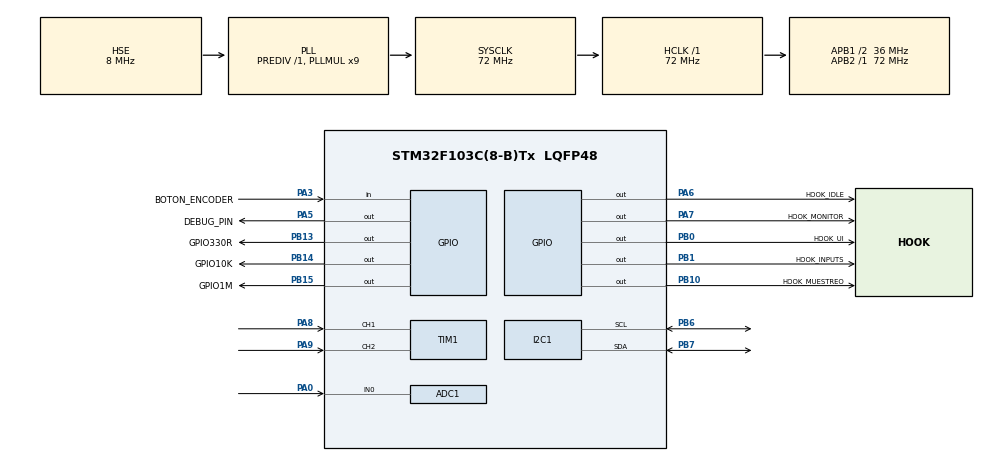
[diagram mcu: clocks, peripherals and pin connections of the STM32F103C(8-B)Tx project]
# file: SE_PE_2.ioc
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ADC1.Channel-0\#ChannelRegularConversion=ADC_CHANNEL_0
ADC1.ContinuousConvMode=DISABLE
ADC1.ExternalTrigConv=ADC_EXTERNALTRIGCONV_T3_TRGO
ADC1.NbrOfConversion=1
ADC1.NbrOfConversionFlag=1
ADC1.Rank-0\#ChannelRegularConversion=1
ADC1.SamplingTime-0\#ChannelRegularConversion=ADC_SAMPLETIME_239CYCLES_5
ADC1.master=1
Dma.ADC1.0.Direction=DMA_PERIPH_TO_MEMORY
Dma.ADC1.0.Instance=DMA1_Channel1
Dma.ADC1.0.MemDataAlignment=DMA_MDATAALIGN_HALFWORD
Dma.ADC1.0.MemInc=DMA_MINC_ENABLE
Dma.ADC1.0.Mode=DMA_NORMAL
Dma.ADC1.0.PeriphDataAlignment=DMA_PDATAALIGN_HALFWORD
Dma.ADC1.0.PeriphInc=DMA_PINC_DISABLE
Dma.ADC1.0.Priority=DMA_PRIORITY_HIGH
Dma.Request0=ADC1
FREERTOS.Queues01=uiQueue,10,4,1,Static,uiQueueBuffer,uiQueueControlBlock;monitorQueue,1,MonitorData_t,0,Static,monitorQueueBuffer,monitorQueueControlBlock;muestreoQueue,4,MuestreoQueue_t,0,Static,samplesQueueBuffer,samplesQueueControlBlock
FREERTOS.Tasks01=defaultTask,8,256,StartDefaultTask,Default,NULL,Dynamic,NULL,NULL;uiTask,25,384,oledEntry,Default,NULL,Dynamic,NULL,NULL;inputsTask,27,128,encoderEntry,Default,NULL,Dynamic,NULL,NULL;monitorTask,26,128,monitorEntry,Default,NULL,Dynamic,NULL,NULL
FREERTOS.configGENERATE_RUN_TIME_STATS=1
FREERTOS.configTOTAL_HEAP_SIZE=7000
FREERTOS.configUSE_APPLICATION_TASK_TAG=1
FREERTOS.configUSE_STATS_FORMATTING_FUNCTIONS=1
I2C1.I2C_Mode=I2C_Fast
Mcu.Family=STM32F1
Mcu.Name=STM32F103C(8-B)Tx
Mcu.Package=LQFP48
NVIC.DMA1_Channel1_IRQn=true\:5\:0\:false\:false\:true\:true\:false\:true\:true
NVIC.PriorityGroup=NVIC_PRIORITYGROUP_4
NVIC.TIM4_IRQn=true\:15\:0\:false\:false\:true\:false\:false\:true\:true
NVIC.TimeBase=TIM4_IRQn
NVIC.TimeBaseIP=TIM4
PA0-WKUP.Signal=ADCx_IN0
PA13.Mode=Serial_Wire
PA13.Signal=SYS_JTMS-SWDIO
PA14.Mode=Serial_Wire
PA14.Signal=SYS_JTCK-SWCLK
PA3.GPIO_Label=BOTON_ENCODER
PA3.GPIO_PuPd=GPIO_PULLUP
PA3.Signal=GPIO_Input
PA5.GPIO_Label=DEBUG_PIN
PA5.Signal=GPIO_Output
PA6.GPIO_Label=HOOK_IDLE
PA6.Signal=GPIO_Output
PA7.GPIO_Label=HOOK_MONITOR
PA7.Signal=GPIO_Output
PA8.GPIO_PuPd=GPIO_PULLUP
PA8.Signal=S_TIM1_CH1
PA9.GPIO_PuPd=GPIO_PULLUP
PA9.Signal=S_TIM1_CH2
PB0.GPIO_Label=HOOK_UI
PB0.Signal=GPIO_Output
PB1.GPIO_Label=HOOK_INPUTS
PB1.Signal=GPIO_Output
PB10.GPIO_Label=HOOK_MUESTREO
PB10.Signal=GPIO_Output
PB13.GPIO_Label=GPIO330R
PB13.Signal=GPIO_Output
PB14.GPIO_Label=GPIO10K
PB14.Signal=GPIO_Output
PB15.GPIO_Label=GPIO1M
PB15.Signal=GPIO_Output
PB6.Mode=I2C
PB6.Signal=I2C1_SCL
PB7.Mode=I2C
PB7.Signal=I2C1_SDA
PD0-OSC_IN.Mode=HSE-External-Oscillator
PD0-OSC_IN.Signal=RCC_OSC_IN
PD1-OSC_OUT.Mode=HSE-External-Oscillator
PD1-OSC_OUT.Signal=RCC_OSC_OUT
ProjectManager.HeapSize=0x200
ProjectManager.StackSize=0x400
ProjectManager.TargetToolchain=STM32CubeIDE
RCC.ADCPresc=RCC_ADCPCLK2_DIV6
RCC.AHBFreq_Value=72000000
RCC.APB1CLKDivider=RCC_HCLK_DIV2
RCC.APB1Freq_Value=36000000
RCC.APB1TimFreq_Value=72000000
RCC.APB2Freq_Value=72000000
RCC.APB2TimFreq_Value=72000000
RCC.HCLKFreq_Value=72000000
RCC.PLLMUL=RCC_PLL_MUL9
RCC.PLLSourceVirtual=RCC_PLLSOURCE_HSE
RCC.SYSCLKFreq_VALUE=72000000
RCC.SYSCLKSource=RCC_SYSCLKSOURCE_PLLCLK
RCC.USBFreq_Value=72000000
SH.ADCx_IN0.0=ADC1_IN0,IN0
SH.S_TIM1_CH1.0=TIM1_CH1,Encoder_Interface
SH.S_TIM1_CH2.0=TIM1_CH2,Encoder_Interface
TIM1.EncoderMode=TIM_ENCODERMODE_TI12
TIM3.Period=1000-1
TIM3.Prescaler=72-1
TIM3.TIM_MasterOutputTrigger=TIM_TRGO_UPDATE
VP_FREERTOS_VS_CMSIS_V2.Mode=CMSIS_V2
VP_SYS_VS_tim4.Mode=TIM4
VP_TIM3_VS_ClockSourceINT.Mode=Internal
board=custom

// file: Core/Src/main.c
/* USER CODE BEGIN Header */

/**
  ******************************************************************************
  * @file           : main.c
  * @brief          : Main program body
  ******************************************************************************
  * @attention
  *
  * Copyright (c) 2026 STMicroelectronics.
  * All rights reserved.
  *
  * This software is licensed under terms that can be found in the LICENSE file
  * in the root directory of this software component.
  * If no LICENSE file comes with this software, it is provided AS-IS.
  *
  ******************************************************************************
  */
/* USER CODE END Header */
#include "main.h"
#include "cmsis_os.h"

/* USER CODE BEGIN Includes */
#include <stdio.h>
#include <stdint.h>
#include "ui.h"
#include "monitor.h"
#include "ssd1306.h"

#include "medida.h"

/* USER CODE END Includes */

typedef StaticQueue_t osStaticMessageQDef_t;

/* USER CODE BEGIN PD */

// -----------------------------------------------------
// TODO: factorizar esto a donde corresponde
// Valores de ARR para el TIM3 según la escala de tiempo requerida
#define TIM3_ARR_RAPIDO   (100 - 1)    // Muestreo muy rápido (~100 microsegundos por muestra)
#define TIM3_ARR_MEDIO    (1000 - 1)  // Muestreo medio (~1 milisegundo por muestra)
#define TIM3_ARR_LENTO    (10000 - 1) // Muestreo lento (~10 milisegundos por muestra)

typedef enum {
    RANGE_330R = 0,
    RANGE_10K,
    RANGE_1M
} RangeState_t;

typedef enum {
    TIME_BASE_RAPIDA = 0,
    TIME_BASE_MEDIA,
    TIME_BASE_LENTA
} TimeBase_t;

// Prototipos de funciones auxiliares
void set_hardware_range(RangeState_t range);
uint32_t calcular_capacidad_final(int16_t indice_tau, TimeBase_t base_tiempo, RangeState_t rango_R);
// TODO -----------------------------------------------------

/* USER CODE END PD */

ADC_HandleTypeDef hadc1;
DMA_HandleTypeDef hdma_adc1;

I2C_HandleTypeDef hi2c1;

TIM_HandleTypeDef htim1;
TIM_HandleTypeDef htim3;

/* Definitions for defaultTask */
osThreadId_t defaultTaskHandle;
const osThreadAttr_t defaultTask_attributes = {
  .name = "defaultTask",
  .stack_size = 256 * 4,
  .priority = (osPriority_t) osPriorityLow,
};
/* Definitions for uiTask */
osThreadId_t uiTaskHandle;
const osThreadAttr_t uiTask_attributes = {
  .name = "uiTask",
  .stack_size = 384 * 4,
  .priority = (osPriority_t) osPriorityNormal1,
};
/* Definitions for inputsTask */
osThreadId_t inputsTaskHandle;
const osThreadAttr_t inputsTask_attributes = {
  .name = "inputsTask",
  .stack_size = 128 * 4,
  .priority = (osPriority_t) osPriorityNormal3,
};
/* Definitions for monitorTask */
osThreadId_t monitorTaskHandle;
const osThreadAttr_t monitorTask_attributes = {
  .name = "monitorTask",
  .stack_size = 128 * 4,
  .priority = (osPriority_t) osPriorityNormal2,
};
/* Definitions for uiQueue */
osMessageQueueId_t uiQueueHandle;
uint8_t uiQueueBuffer[ 10 * 4 ];
osStaticMessageQDef_t uiQueueControlBlock;
const osMessageQueueAttr_t uiQueue_attributes = {
  .name = "uiQueue",
  .cb_mem = &uiQueueControlBlock,
  .cb_size = sizeof(uiQueueControlBlock),
  .mq_mem = &uiQueueBuffer,
  .mq_size = sizeof(uiQueueBuffer)
};
/* Definitions for monitorQueue */
osMessageQueueId_t monitorQueueHandle;
uint8_t monitorQueueBuffer[ 1 * sizeof( MonitorData_t ) ];
osStaticMessageQDef_t monitorQueueControlBlock;
const osMessageQueueAttr_t monitorQueue_attributes = {
  .name = "monitorQueue",
  .cb_mem = &monitorQueueControlBlock,
  .cb_size = sizeof(monitorQueueControlBlock),
  .mq_mem = &monitorQueueBuffer,
  .mq_size = sizeof(monitorQueueBuffer)
};
/* Definitions for muestreoQueue */
osMessageQueueId_t muestreoQueueHandle;
uint8_t samplesQueueBuffer[ 4 * sizeof( MuestreoQueue_t ) ];
osStaticMessageQDef_t samplesQueueControlBlock;
const osMessageQueueAttr_t muestreoQueue_attributes = {
  .name = "muestreoQueue",
  .cb_mem = &samplesQueueControlBlock,
  .cb_size = sizeof(samplesQueueControlBlock),
  .mq_mem = &samplesQueueBuffer,
  .mq_size = sizeof(samplesQueueBuffer)
};
/* USER CODE BEGIN PV */

/* Globables para monitor */
volatile uint32_t FU_acc = 0;
volatile uint32_t FU_time_delta = 0;

/* Globales para UI */
UI_t ui1 = {
	ESTADO_INICIO,
	0, // Seleccion inicial
	1, // Flag update background
	1, // Flag update seleccion
	0, // Flag update datos
};

Config_t config1 = { // Configuracion default
	.modo = MODO_MULTIPLE,
	.parametro = PARAMETRO_R,
};

/* USER CODE END PV */

void SystemClock_Config(void);
static void MX_GPIO_Init(void);
static void MX_DMA_Init(void);
static void MX_I2C1_Init(void);
static void MX_TIM1_Init(void);
static void MX_ADC1_Init(void);
static void MX_TIM3_Init(void);
void StartDefaultTask(void *argument);
void oledEntry(void *argument);
void encoderEntry(void *argument);
void monitorEntry(void *argument);

/* USER CODE BEGIN PFP */
void UI_FSM_Switch(UI_t *ui, Evento_e evento);
void callback_in(int tag);
void callback_out(int tag);

void configurar_descarga();
void configurar_carga();

/**
 * Ajustan los GPIOs para el fondo de escala más adecuado
 * de para medir resistencias
 */
//MuestreoQueue_t configureAutoRangeResistor();

/* USER CODE END PFP */

/* USER CODE BEGIN 0 */

uint16_t adc_buffer[ADC_BUFFER_SIZE] = {0};
volatile Bool buffer_ready = FALSE;

/* USER CODE END 0 */

int main(void)
{

  /* MCU Configuration--------------------------------------------------------*/

  /* Reset of all peripherals, Initializes the Flash interface and the Systick. */
  HAL_Init();

  /* Configure the system clock */
  SystemClock_Config();

  /* Initialize all configured peripherals */
  MX_GPIO_Init();
  MX_DMA_Init();
  MX_I2C1_Init();
  MX_TIM1_Init();
  MX_ADC1_Init();
  MX_TIM3_Init();
  /* USER CODE BEGIN 2 */

  // Se comienza el Timer 3 que da la base de tiempo
  // para la conversión del ADC 1
  HAL_TIM_Base_Start(&htim3);

  /* USER CODE END 2 */

  /* Init scheduler */
  osKernelInitialize();

  /* Create the queue(s) */
  /* creation of uiQueue */
  uiQueueHandle = osMessageQueueNew (10, 4, &uiQueue_attributes);

  /* creation of monitorQueue */
  monitorQueueHandle = osMessageQueueNew (1, sizeof(MonitorData_t), &monitorQueue_attributes);

  /* creation of muestreoQueue */
  muestreoQueueHandle = osMessageQueueNew (4, sizeof(MuestreoQueue_t), &muestreoQueue_attributes);

  /* Create the thread(s) */
  /* creation of defaultTask */
  defaultTaskHandle = osThreadNew(StartDefaultTask, NULL, &defaultTask_attributes);

  /* creation of uiTask */
  uiTaskHandle = osThreadNew(oledEntry, NULL, &uiTask_attributes);

  /* creation of inputsTask */
  inputsTaskHandle = osThreadNew(encoderEntry, NULL, &inputsTask_attributes);

  /* creation of monitorTask */
  monitorTaskHandle = osThreadNew(monitorEntry, NULL, &monitorTask_attributes);

  /* Start scheduler */
  osKernelStart();

  /* We should never get here as control is now taken by the scheduler */

  /* Infinite loop */
  while (1)
  {

  }
}

void SystemClock_Config(void)
{
  RCC_OscInitTypeDef RCC_OscInitStruct = {0};
  RCC_ClkInitTypeDef RCC_ClkInitStruct = {0};
  RCC_PeriphCLKInitTypeDef PeriphClkInit = {0};

  /** Initializes the RCC Oscillators according to the specified parameters
  * in the RCC_OscInitTypeDef structure.
  */
  RCC_OscInitStruct.OscillatorType = RCC_OSCILLATORTYPE_HSE;
  RCC_OscInitStruct.HSEState = RCC_HSE_ON;
  RCC_OscInitStruct.HSEPredivValue = RCC_HSE_PREDIV_DIV1;
  RCC_OscInitStruct.HSIState = RCC_HSI_ON;
  RCC_OscInitStruct.PLL.PLLState = RCC_PLL_ON;
  RCC_OscInitStruct.PLL.PLLSource = RCC_PLLSOURCE_HSE;
  RCC_OscInitStruct.PLL.PLLMUL = RCC_PLL_MUL9;
  if (HAL_RCC_OscConfig(&RCC_OscInitStruct) != HAL_OK)
  {
    Error_Handler();
  }

  /** Initializes the CPU, AHB and APB buses clocks
  */
  RCC_ClkInitStruct.ClockType = RCC_CLOCKTYPE_HCLK|RCC_CLOCKTYPE_SYSCLK
                              |RCC_CLOCKTYPE_PCLK1|RCC_CLOCKTYPE_PCLK2;
  RCC_ClkInitStruct.SYSCLKSource = RCC_SYSCLKSOURCE_PLLCLK;
  RCC_ClkInitStruct.AHBCLKDivider = RCC_SYSCLK_DIV1;
  RCC_ClkInitStruct.APB1CLKDivider = RCC_HCLK_DIV2;
  RCC_ClkInitStruct.APB2CLKDivider = RCC_HCLK_DIV1;

  if (HAL_RCC_ClockConfig(&RCC_ClkInitStruct, FLASH_LATENCY_2) != HAL_OK)
  {
    Error_Handler();
  }
  PeriphClkInit.PeriphClockSelection = RCC_PERIPHCLK_ADC;
  PeriphClkInit.AdcClockSelection = RCC_ADCPCLK2_DIV6;
  if (HAL_RCCEx_PeriphCLKConfig(&PeriphClkInit) != HAL_OK)
  {
    Error_Handler();
  }
}

static void MX_ADC1_Init(void)
{

  ADC_ChannelConfTypeDef sConfig = {0};

  /** Common config
  */
  hadc1.Instance = ADC1;
  hadc1.Init.ScanConvMode = ADC_SCAN_DISABLE;
  hadc1.Init.ContinuousConvMode = DISABLE;
  hadc1.Init.DiscontinuousConvMode = DISABLE;
  hadc1.Init.ExternalTrigConv = ADC_EXTERNALTRIGCONV_T3_TRGO;
  hadc1.Init.DataAlign = ADC_DATAALIGN_RIGHT;
  hadc1.Init.NbrOfConversion = 1;
  if (HAL_ADC_Init(&hadc1) != HAL_OK)
  {
    Error_Handler();
  }

  /** Configure Regular Channel
  */
  sConfig.Channel = ADC_CHANNEL_0;
  sConfig.Rank = ADC_REGULAR_RANK_1;
  sConfig.SamplingTime = ADC_SAMPLETIME_239CYCLES_5;
  if (HAL_ADC_ConfigChannel(&hadc1, &sConfig) != HAL_OK)
  {
    Error_Handler();
  }

}

static void MX_I2C1_Init(void)
{

  hi2c1.Instance = I2C1;
  hi2c1.Init.ClockSpeed = 400000;
  hi2c1.Init.DutyCycle = I2C_DUTYCYCLE_2;
  hi2c1.Init.OwnAddress1 = 0;
  hi2c1.Init.AddressingMode = I2C_ADDRESSINGMODE_7BIT;
  hi2c1.Init.DualAddressMode = I2C_DUALADDRESS_DISABLE;
  hi2c1.Init.OwnAddress2 = 0;
  hi2c1.Init.GeneralCallMode = I2C_GENERALCALL_DISABLE;
  hi2c1.Init.NoStretchMode = I2C_NOSTRETCH_DISABLE;
  if (HAL_I2C_Init(&hi2c1) != HAL_OK)
  {
    Error_Handler();
  }

}

static void MX_TIM1_Init(void)
{

  TIM_Encoder_InitTypeDef sConfig = {0};
  TIM_MasterConfigTypeDef sMasterConfig = {0};

  htim1.Instance = TIM1;
  htim1.Init.Prescaler = 0;
  htim1.Init.CounterMode = TIM_COUNTERMODE_UP;
  htim1.Init.Period = 65535;
  htim1.Init.ClockDivision = TIM_CLOCKDIVISION_DIV1;
  htim1.Init.RepetitionCounter = 0;
  htim1.Init.AutoReloadPreload = TIM_AUTORELOAD_PRELOAD_DISABLE;
  sConfig.EncoderMode = TIM_ENCODERMODE_TI12;
  sConfig.IC1Polarity = TIM_ICPOLARITY_RISING;
  sConfig.IC1Selection = TIM_ICSELECTION_DIRECTTI;
  sConfig.IC1Prescaler = TIM_ICPSC_DIV1;
  sConfig.IC1Filter = 0;
  sConfig.IC2Polarity = TIM_ICPOLARITY_RISING;
  sConfig.IC2Selection = TIM_ICSELECTION_DIRECTTI;
  sConfig.IC2Prescaler = TIM_ICPSC_DIV1;
  sConfig.IC2Filter = 0;
  if (HAL_TIM_Encoder_Init(&htim1, &sConfig) != HAL_OK)
  {
    Error_Handler();
  }
  sMasterConfig.MasterOutputTrigger = TIM_TRGO_RESET;
  sMasterConfig.MasterSlaveMode = TIM_MASTERSLAVEMODE_DISABLE;
  if (HAL_TIMEx_MasterConfigSynchronization(&htim1, &sMasterConfig) != HAL_OK)
  {
    Error_Handler();
  }

}

static void MX_TIM3_Init(void)
{

  TIM_ClockConfigTypeDef sClockSourceConfig = {0};
  TIM_MasterConfigTypeDef sMasterConfig = {0};

  htim3.Instance = TIM3;
  htim3.Init.Prescaler = 72-1;
  htim3.Init.CounterMode = TIM_COUNTERMODE_UP;
  htim3.Init.Period = 1000-1;
  htim3.Init.ClockDivision = TIM_CLOCKDIVISION_DIV1;
  htim3.Init.AutoReloadPreload = TIM_AUTORELOAD_PRELOAD_DISABLE;
  if (HAL_TIM_Base_Init(&htim3) != HAL_OK)
  {
    Error_Handler();
  }
  sClockSourceConfig.ClockSource = TIM_CLOCKSOURCE_INTERNAL;
  if (HAL_TIM_ConfigClockSource(&htim3, &sClockSourceConfig) != HAL_OK)
  {
    Error_Handler();
  }
  sMasterConfig.MasterOutputTrigger = TIM_TRGO_UPDATE;
  sMasterConfig.MasterSlaveMode = TIM_MASTERSLAVEMODE_DISABLE;
  if (HAL_TIMEx_MasterConfigSynchronization(&htim3, &sMasterConfig) != HAL_OK)
  {
    Error_Handler();
  }

}

static void MX_DMA_Init(void)
{

  /* DMA controller clock enable */
  __HAL_RCC_DMA1_CLK_ENABLE();

  /* DMA interrupt init */
  /* DMA1_Channel1_IRQn interrupt configuration */
  HAL_NVIC_SetPriority(DMA1_Channel1_IRQn, 5, 0);
  HAL_NVIC_EnableIRQ(DMA1_Channel1_IRQn);

}

static void MX_GPIO_Init(void)
{
  GPIO_InitTypeDef GPIO_InitStruct = {0};

  /* GPIO Ports Clock Enable */
  __HAL_RCC_GPIOD_CLK_ENABLE();
  __HAL_RCC_GPIOA_CLK_ENABLE();
  __HAL_RCC_GPIOB_CLK_ENABLE();

  /*Configure GPIO pin Output Level */
  HAL_GPIO_WritePin(GPIOA, DEBUG_PIN_Pin|HOOK_IDLE_Pin|HOOK_MONITOR_Pin, GPIO_PIN_RESET);

  /*Configure GPIO pin Output Level */
  HAL_GPIO_WritePin(GPIOB, HOOK_UI_Pin|HOOK_INPUTS_Pin|HOOK_MUESTREO_Pin|GPIO330R_Pin
                          |GPIO10K_Pin|GPIO1M_Pin, GPIO_PIN_RESET);

  /*Configure GPIO pin : BOTON_ENCODER_Pin */
  GPIO_InitStruct.Pin = BOTON_ENCODER_Pin;
  GPIO_InitStruct.Mode = GPIO_MODE_INPUT;
  GPIO_InitStruct.Pull = GPIO_PULLUP;
  HAL_GPIO_Init(BOTON_ENCODER_GPIO_Port, &GPIO_InitStruct);

  /*Configure GPIO pins : DEBUG_PIN_Pin HOOK_IDLE_Pin HOOK_MONITOR_Pin */
  GPIO_InitStruct.Pin = DEBUG_PIN_Pin|HOOK_IDLE_Pin|HOOK_MONITOR_Pin;
  GPIO_InitStruct.Mode = GPIO_MODE_OUTPUT_PP;
  GPIO_InitStruct.Pull = GPIO_NOPULL;
  GPIO_InitStruct.Speed = GPIO_SPEED_FREQ_LOW;
  HAL_GPIO_Init(GPIOA, &GPIO_InitStruct);

  /*Configure GPIO pins : HOOK_UI_Pin HOOK_INPUTS_Pin HOOK_MUESTREO_Pin GPIO330R_Pin
                           GPIO10K_Pin GPIO1M_Pin */
  GPIO_InitStruct.Pin = HOOK_UI_Pin|HOOK_INPUTS_Pin|HOOK_MUESTREO_Pin|GPIO330R_Pin
                          |GPIO10K_Pin|GPIO1M_Pin;
  GPIO_InitStruct.Mode = GPIO_MODE_OUTPUT_PP;
  GPIO_InitStruct.Pull = GPIO_NOPULL;
  GPIO_InitStruct.Speed = GPIO_SPEED_FREQ_LOW;
  HAL_GPIO_Init(GPIOB, &GPIO_InitStruct);

}

/* USER CODE BEGIN 4 */

/**
 * @brief Configura los GPIOs para activar la resistencia de carga/descarga correcta.
 */
void set_hardware_range(RangeState_t range) {
    GPIO_InitTypeDef GPIO_InitStruct = {0};

    // Todos se configuran como Entrada (Alta impedancia / Flotante / Z) por defecto
    GPIO_InitStruct.Mode = GPIO_MODE_INPUT; // También puedes usar GPIO_MODE_ANALOG para menor ruido
    GPIO_InitStruct.Pull = GPIO_NOPULL;
    GPIO_InitStruct.Speed = GPIO_SPEED_FREQ_LOW;

    switch (range){

    case RANGE_330R:
        // 1. Ponemos en Z las resistencias de 10K y 1M
        GPIO_InitStruct.Pin = GPIO10K_Pin;
        HAL_GPIO_Init(GPIO10K_GPIO_Port, &GPIO_InitStruct);

        GPIO_InitStruct.Pin = GPIO1M_Pin;
        HAL_GPIO_Init(GPIO1M_GPIO_Port, &GPIO_InitStruct);

        // 2. Activamos la de 330R como salida en ALTO
        GPIO_InitStruct.Pin = GPIO330R_Pin;
        GPIO_InitStruct.Mode = GPIO_MODE_OUTPUT_PP;
        HAL_GPIO_Init(GPIO330R_GPIO_Port, &GPIO_InitStruct);
        HAL_GPIO_WritePin(GPIO330R_GPIO_Port, GPIO330R_Pin, GPIO_PIN_SET);
        break;

    case RANGE_10K:
        // 1. Ponemos en Z las resistencias de 330R y 1M
        GPIO_InitStruct.Pin = GPIO330R_Pin;
        HAL_GPIO_Init(GPIO330R_GPIO_Port, &GPIO_InitStruct);

        GPIO_InitStruct.Pin = GPIO1M_Pin;
        HAL_GPIO_Init(GPIO1M_GPIO_Port, &GPIO_InitStruct);

        // 2. Activamos la de 10K como salida en ALTO
        GPIO_InitStruct.Pin = GPIO10K_Pin;
        GPIO_InitStruct.Mode = GPIO_MODE_OUTPUT_PP;
        HAL_GPIO_Init(GPIO10K_GPIO_Port, &GPIO_InitStruct);
        HAL_GPIO_WritePin(GPIO10K_GPIO_Port, GPIO10K_Pin, GPIO_PIN_SET);
        break;

    case RANGE_1M:
        // 1. Ponemos en Z las resistencias de 330R y 10K
        GPIO_InitStruct.Pin = GPIO330R_Pin;
        HAL_GPIO_Init(GPIO330R_GPIO_Port, &GPIO_InitStruct);

        GPIO_InitStruct.Pin = GPIO10K_Pin;
        HAL_GPIO_Init(GPIO10K_GPIO_Port, &GPIO_InitStruct);

        // 2. Activamos la de 1M como salida en ALTO
        GPIO_InitStruct.Pin = GPIO1M_Pin;
        GPIO_InitStruct.Mode = GPIO_MODE_OUTPUT_PP;
        HAL_GPIO_Init(GPIO1M_GPIO_Port, &GPIO_InitStruct);
        HAL_GPIO_WritePin(GPIO1M_GPIO_Port, GPIO1M_Pin, GPIO_PIN_SET);
        break;

    default:
        // Fallback preventivo: Apagamos todo a Z para proteger el hardware
        GPIO_InitStruct.Pin = GPIO330R_Pin;
        HAL_GPIO_Init(GPIO330R_GPIO_Port, &GPIO_InitStruct);
        GPIO_InitStruct.Pin = GPIO10K_Pin;
        HAL_GPIO_Init(GPIO10K_GPIO_Port, &GPIO_InitStruct);
        GPIO_InitStruct.Pin = GPIO1M_Pin;
        HAL_GPIO_Init(GPIO1M_GPIO_Port, &GPIO_InitStruct);
        break;
    }
}

/**
 * @brief Calcula el valor final de la capacidad basado en el índice de Tau y el hardware.
 * Formula: C = t / R.
 * t = indice_tau * Periodo_Muestreo
 */
uint32_t calcular_capacidad_final(int16_t indice_tau, TimeBase_t base_tiempo, RangeState_t rango_R) {
	// TODO: cambiar esto para no usar double, y hacer todo con enteros
    double tiempo_por_muestra_seg = 0.0;
    double resistencia_ohms = 0.0;

    // 1. Determinar el tiempo de paso del TIM3 (Asumiendo Clock del timer a 72MHz y Prescaler = 72-1 -> 1 microsegundo por tick)
    switch(base_tiempo) {
        case TIME_BASE_RAPIDA: tiempo_por_muestra_seg = (double)TIM3_ARR_RAPIDO / 1000000.0; break;
        case TIME_BASE_MEDIA:  tiempo_por_muestra_seg = (double)TIM3_ARR_MEDIO / 1000000.0; break;
        case TIME_BASE_LENTA:  tiempo_por_muestra_seg = (double)TIM3_ARR_LENTO / 1000000.0; break;
    }

    // 2. Determinar la resistencia utilizada para la carga
    switch(rango_R) {
        case RANGE_330R: resistencia_ohms = 330.0; break;
        case RANGE_10K:  resistencia_ohms = 10000.0; break;
        case RANGE_1M:   resistencia_ohms = 1000000.0; break;
    }

    // Tiempo total hasta llegar a Tau (63.2%)
    double t_tau = (double)indice_tau * tiempo_por_muestra_seg;

    // C = Tau / R
    double capacidad_faradios = t_tau / resistencia_ohms;

    // Lo convertimos a NanoFaradios (nF) para devolver un entero cómodo para la UI
    uint32_t capacidad_nf = (uint32_t)(capacidad_faradios * 1000000000.0);

    return capacidad_nf;
}

//void HAL_ADC_ConvCpltCallback(ADC_HandleTypeDef *hadc)
//{
//    buffer_ready = TRUE;
//}

/**
 * @brief Hice que cuando se llene el buffer el callback
 * levante a la tarea default, así podemos muestrear
 * con un tiempo fijo.
 */
void HAL_ADC_ConvCpltCallback(ADC_HandleTypeDef *hadc)
{
    BaseType_t xHigherPriorityTaskWoken = pdFALSE;

    // Despierta a la tarea de medición inmediatamente cuando el buffer de 256 muestras está lleno
    vTaskNotifyGiveFromISR(defaultTaskHandle, &xHigherPriorityTaskWoken);

    // Fuerza el cambio de contexto si la prioridad de defaultTask es mayor que la interrumpida
    portYIELD_FROM_ISR(xHigherPriorityTaskWoken);
}

/**
 * @brief Se configuran los GPIOs para que se descargue
 * la capacidad equivalente
 */
void configurar_descarga() {
	GPIO_InitTypeDef GPIO_InitStruct = {0};

	// TODO: preguntar orden de WritePin
	HAL_GPIO_WritePin(GPIO330R_GPIO_Port, GPIO330R_Pin, GPIO_PIN_RESET);
	HAL_GPIO_WritePin(GPIO10K_GPIO_Port, GPIO10K_Pin, GPIO_PIN_RESET);
	HAL_GPIO_WritePin(GPIO1M_GPIO_Port, GPIO1M_Pin, GPIO_PIN_RESET);

	GPIO_InitStruct.Pin = GPIO330R_Pin;
	GPIO_InitStruct.Mode = GPIO_MODE_OUTPUT_PP;
	GPIO_InitStruct.Pull = GPIO_NOPULL;
	GPIO_InitStruct.Speed = GPIO_SPEED_FREQ_LOW;
	HAL_GPIO_Init(GPIO330R_GPIO_Port, &GPIO_InitStruct);

	GPIO_InitStruct.Pin = GPIO10K_Pin|GPIO1M_Pin;
	GPIO_InitStruct.Mode = GPIO_MODE_INPUT; // Z
	GPIO_InitStruct.Pull = GPIO_NOPULL;
	HAL_GPIO_Init(GPIOA, &GPIO_InitStruct);
}

/**
 * @brief se configuran los GPIOs para que se cargue
 * la capacidad equivalente con una resistencia de 1M
 */
void configurar_carga() {
	GPIO_InitTypeDef GPIO_InitStruct = {0};

	// Bajo los 3 pines
	HAL_GPIO_WritePin(GPIO330R_GPIO_Port, GPIO330R_Pin, GPIO_PIN_RESET);
	HAL_GPIO_WritePin(GPIO10K_GPIO_Port, GPIO10K_Pin, GPIO_PIN_RESET);
	HAL_GPIO_WritePin(GPIO1M_GPIO_Port, GPIO1M_Pin, GPIO_PIN_RESET);

	//1M como salida en bajo (no pull up ni pull down)
	GPIO_InitStruct.Pin = GPIO1M_Pin;
	GPIO_InitStruct.Mode = GPIO_MODE_OUTPUT_PP;
	GPIO_InitStruct.Pull = GPIO_NOPULL;
	GPIO_InitStruct.Speed = GPIO_SPEED_FREQ_LOW;
	HAL_GPIO_Init(GPIO1M_GPIO_Port, &GPIO_InitStruct);

	// El resto (10k y 330ohm) en alta impedancia
	GPIO_InitStruct.Pin = GPIO330R_Pin;
	GPIO_InitStruct.Mode = GPIO_MODE_INPUT; // Z
	GPIO_InitStruct.Pull = GPIO_NOPULL;
	HAL_GPIO_Init(GPIO330R_GPIO_Port, &GPIO_InitStruct);
	GPIO_InitStruct.Pin = GPIO10K_Pin;
	GPIO_InitStruct.Mode = GPIO_MODE_INPUT; // Z
	GPIO_InitStruct.Pull = GPIO_NOPULL;
	HAL_GPIO_Init(GPIO10K_GPIO_Port, &GPIO_InitStruct);

	// 1M en alto
	HAL_GPIO_WritePin(GPIO1M_GPIO_Port, GPIO1M_Pin, GPIO_PIN_SET);

}

/* Funciones para el analizador logico */
void callback_in(int tag)
{
	switch (tag) {
	case TAG_TASK_IDLE:
		FU_time_delta = HAL_GetTick();
		HAL_GPIO_WritePin(HOOK_IDLE_GPIO_Port, HOOK_IDLE_Pin, GPIO_PIN_SET);
		break;
	case TAG_TASK_INPUTS:   HAL_GPIO_WritePin(HOOK_INPUTS_GPIO_Port, HOOK_INPUTS_Pin, GPIO_PIN_SET); break;
	case TAG_TASK_UI:       HAL_GPIO_WritePin(HOOK_UI_GPIO_Port, HOOK_UI_Pin, GPIO_PIN_SET); break;
	case TAG_TASK_MONITOR:  HAL_GPIO_WritePin(HOOK_MONITOR_GPIO_Port, HOOK_MONITOR_Pin, GPIO_PIN_SET); break;
	case TAG_TASK_MUESTREO: HAL_GPIO_WritePin(HOOK_MUESTREO_GPIO_Port, HOOK_MUESTREO_Pin, GPIO_PIN_SET); break;
	default: break;
	}
}

void callback_out(int tag){
	switch (tag) {
	case TAG_TASK_IDLE:
		uint32_t time_delta = HAL_GetTick() - FU_time_delta;
		FU_acc += time_delta;
		HAL_GPIO_WritePin(HOOK_IDLE_GPIO_Port, HOOK_IDLE_Pin, GPIO_PIN_RESET);
		break;
	case TAG_TASK_INPUTS:      HAL_GPIO_WritePin(HOOK_INPUTS_GPIO_Port, HOOK_INPUTS_Pin, GPIO_PIN_RESET);break;
	case TAG_TASK_UI:          HAL_GPIO_WritePin(HOOK_UI_GPIO_Port, HOOK_UI_Pin, GPIO_PIN_RESET);break;
	case TAG_TASK_MONITOR:     HAL_GPIO_WritePin(HOOK_MONITOR_GPIO_Port, HOOK_MONITOR_Pin, GPIO_PIN_RESET);break;
	case TAG_TASK_MUESTREO:    HAL_GPIO_WritePin(HOOK_MUESTREO_GPIO_Port, HOOK_MUESTREO_Pin, GPIO_PIN_RESET);break;
	default: break;
	}
}
/* USER CODE END 4 */

void StartDefaultTask(void *argument)
{
  /* USER CODE BEGIN 5 */
	vTaskSetApplicationTaskTag( NULL, (void*) TAG_TASK_MUESTREO);

	RangeState_t current_range = RANGE_10K;
	TimeBase_t current_time_base = TIME_BASE_MEDIA;
	Parametro_e parametro_anterior = config1.parametro;

	set_hardware_range(current_range);
	HAL_ADCEx_Calibration_Start(&hadc1);

	// Inicialización rápida de arranque para modo Resistencia (100 us por muestra en TIM3)
	__HAL_TIM_SET_AUTORELOAD(&htim3, TIM3_ARR_RAPIDO);
	HAL_TIM_Base_Start(&htim3);
	HAL_ADC_Start_DMA(&hadc1, (uint32_t *)adc_buffer, ADC_BUFFER_SIZE);

	/* Infinite loop */
	for(;;)
	{
		// 1. SI NO ESTAMOS EN MEDIDA: Apagamos hardware y esperamos de forma pasiva
		if (ui1.ui_estado != ESTADO_MEDIDA) {
			HAL_ADC_Stop_DMA(&hadc1);
			HAL_TIM_Base_Stop(&htim3);

			osDelay(200); // Espera pasiva que no traba al scheduler

			// Fuerza la sincronización total del hardware al regresar a medir
			parametro_anterior = (config1.parametro == PARAMETRO_R) ? PARAMETRO_C : PARAMETRO_R;
			continue;
		}

		// 2. CONTROL DE TRANSICIÓN (Solo actúa en el momento exacto del cambio R <-> C)
		if (config1.parametro != parametro_anterior)
		{
			HAL_TIM_Base_Stop(&htim3);
			HAL_ADC_Stop_DMA(&hadc1);
			__HAL_ADC_CLEAR_FLAG(&hadc1, ADC_FLAG_EOC | ADC_FLAG_AWD);
			ulTaskNotifyTake(pdTRUE, 0); // Flush de notificaciones viejas

			if (config1.parametro == PARAMETRO_R)
			{
				current_range = RANGE_10K;
				set_hardware_range(current_range);
				__HAL_TIM_SET_AUTORELOAD(&htim3, TIM3_ARR_RAPIDO); // 100us para R
				__HAL_TIM_SET_COUNTER(&htim3, 0);

				HAL_TIM_Base_Start(&htim3);
				HAL_ADC_Start_DMA(&hadc1, (uint32_t *)adc_buffer, ADC_BUFFER_SIZE);
			}
			else if (config1.parametro == PARAMETRO_C)
			{
				// TODO: tiene sentido esto?
				// o no debería configurar esto?
				// yo lo sacaría
				current_range = RANGE_1M;
				current_time_base = TIME_BASE_MEDIA;
				set_hardware_range(current_range);
			}

			parametro_anterior = config1.parametro;
		}

		// ====================================================================
		// MODO RESISTENCIA (Lazo Continuo por Interrupciones)
		// ====================================================================
		if (config1.parametro == PARAMETRO_R)
		{

			// esto es por las dudas que no se haya incializado el DMA
			if (hadc1.State == HAL_ADC_STATE_READY) {
				HAL_ADC_Start_DMA(&hadc1, (uint32_t *)adc_buffer, ADC_BUFFER_SIZE);
				HAL_TIM_Base_Start(&htim3);
			}

			// La tarea se bloquea liberando el procesador hasta que el DMA se llene (25.6 ms)
			ulTaskNotifyTake(pdTRUE, portMAX_DELAY);

			HAL_GPIO_TogglePin(DEBUG_PIN_GPIO_Port, DEBUG_PIN_Pin);
			uint32_t acc = 0;
			for (uint16_t i = 0; i < ADC_BUFFER_SIZE; i++) {
				acc += adc_buffer[i];
			}
			HAL_GPIO_TogglePin(DEBUG_PIN_GPIO_Port, DEBUG_PIN_Pin);

#define VCC_AL_95_PORCIENTO (62259)
#define VCC_AL_5_PORCIENTO (3276)

			uint16_t adc_16bit = acc / 16; // Decimación a 16 bits
			Bool range_changed = FALSE;

			// Evaluar autorango de Resistencia
			if (adc_16bit >= VCC_AL_95_PORCIENTO) {
				if (current_range == RANGE_330R) { current_range = RANGE_10K; range_changed = TRUE; }
				else if (current_range == RANGE_10K) { current_range = RANGE_1M; range_changed = TRUE; }
			}
			else if (adc_16bit <= VCC_AL_5_PORCIENTO) {
				if (current_range == RANGE_1M) { current_range = RANGE_10K; range_changed = TRUE; }
				else if (current_range == RANGE_10K) { current_range = RANGE_330R; range_changed = TRUE; }
			}

			if (range_changed) {
				set_hardware_range(current_range);
				osDelay(5); // Tiempo de asentamiento del transitorio eléctrico

				// Limpieza y reinicio inmediato del DMA sin saltear el flujo
				HAL_ADC_Stop_DMA(&hadc1);
				__HAL_ADC_CLEAR_FLAG(&hadc1, ADC_FLAG_EOC | ADC_FLAG_AWD);
				ulTaskNotifyTake(pdTRUE, 0);

				HAL_ADC_Start_DMA(&hadc1, (uint32_t *)adc_buffer, ADC_BUFFER_SIZE);
			}
			else
			{
				MuestreoQueue_t muestreoQueueSample;
				muestreoQueueSample.raw = adc_16bit;
#define VCC_16_BITS (65490)

				if (current_range == RANGE_330R) {
					muestreoQueueSample.processed = (VALOR_RESISTOR_330_OHMS * adc_16bit) / (VCC_16_BITS - adc_16bit);
					muestreoQueueSample.unit = OHMS;
				} else if (current_range == RANGE_10K) {
					muestreoQueueSample.processed = (VALOR_RESISTOR_10K_OHMS * adc_16bit) / (VCC_16_BITS - adc_16bit);
					muestreoQueueSample.unit = OHMS;
				} else if (current_range == RANGE_1M) {
					// Tuve que hacer esto porque creo que estaba teniendo problemas con uint16_t
					uint64_t numerador = (uint64_t)VALOR_RESISTOR_1M_OHMS * adc_16bit;
					uint32_t denominador = VCC_16_BITS - adc_16bit;

					if (denominador > 0) {
						// Realizamos la división en 64 bits y luego dividimos por 1000 para pasar de Ohms a KiloOhms
						muestreoQueueSample.processed = (uint32_t)((numerador / denominador) / 1000);
					} else {
						muestreoQueueSample.processed = 999; // Fallback por si hay división por cero (ADC saturado)
					}
					muestreoQueueSample.unit = KILO_OHMS;
				}

				osMessageQueuePut(muestreoQueueHandle, &muestreoQueueSample, 0, 0);

				// Volvemos a disparar para el próximo lote continuo
				HAL_ADC_Start_DMA(&hadc1, (uint32_t *)adc_buffer, ADC_BUFFER_SIZE);
			}
		}

		// ====================================================================
		// MODO CAPACIDAD (Lazo por Ráfagas / Burst)
		// ====================================================================
		else if (config1.parametro == PARAMETRO_C)
		{
			// Apagar temporizadores de ráfagas anteriores
			HAL_TIM_Base_Stop(&htim3);
			HAL_ADC_Stop_DMA(&hadc1);
			if (hadc1.State == HAL_ADC_STATE_REG_BUSY || hadc1.State == HAL_ADC_STATE_BUSY_INTERNAL) {
				hadc1.State = HAL_ADC_STATE_READY;
			}
			__HAL_ADC_CLEAR_FLAG(&hadc1, ADC_FLAG_EOC | ADC_FLAG_AWD);

			// FASE DE DESCARGA
			configurar_descarga(); // esta la reciclé del TP pasado

			uint16_t adc_val = 4095;
			uint32_t descarga_timeout = HAL_GetTick();

			// El bucle rompe por descarga (<30) o por timeout (max 100ms)
			// esto es por si se llega a tnener una capacidad muy grande, que no se cuelgue acá
			while(adc_val > 30 && (HAL_GetTick() - descarga_timeout < 100)) {
				HAL_ADC_Start(&hadc1);
				if (HAL_ADC_PollForConversion(&hadc1, 5) == HAL_OK) {
					adc_val = HAL_ADC_GetValue(&hadc1);
				}
				HAL_ADC_Stop(&hadc1);
				osDelay(5); // libero CPU mientas se espera
			}

			// CONFIGURAR NUEVA BASE DE TIEMPO
			switch(current_time_base) {
			case TIME_BASE_RAPIDA: __HAL_TIM_SET_AUTORELOAD(&htim3, TIM3_ARR_RAPIDO); break; //100us
			case TIME_BASE_MEDIA:  __HAL_TIM_SET_AUTORELOAD(&htim3, TIM3_ARR_MEDIO); break; // 1ms
			case TIME_BASE_LENTA:  __HAL_TIM_SET_AUTORELOAD(&htim3, TIM3_ARR_LENTO); break; //10ms
			}
			__HAL_TIM_SET_COUNTER(&htim3, 0);

			// limpio notificaciones para que no se cuelgue CPU
			ulTaskNotifyTake(pdTRUE, 0);

			if (HAL_ADC_Start_DMA(&hadc1, (uint32_t *)adc_buffer, ADC_BUFFER_SIZE) != HAL_OK) {
				hadc1.State = HAL_ADC_STATE_READY;
				HAL_ADC_Start_DMA(&hadc1, (uint32_t *)adc_buffer, ADC_BUFFER_SIZE);
			}

			HAL_TIM_Base_Start(&htim3); // El timer comienza a disparar el ADC

			// INICIAR CARGA ELÉCTRICA
			configurar_carga();

			// Espera pasiva de buffer lleno (Con timeout de respaldo de 3s para evitar trabar el RTOS)
			uint32_t notificado = ulTaskNotifyTake(pdTRUE, pdMS_TO_TICKS(20000));

			if (notificado == 0) {
				// TODO: cambiar base de tiempo
				continue; // Si se trabó la ráfaga, reintenta de forma limpia en el próximo ciclo
			}

			// ANALIZAR DINÁMICA DE LA CURVA RC
#define UMBRAL_TAU (2589)
			int16_t indice_tau = -1;

			for (uint16_t i = 0; i < ADC_BUFFER_SIZE; i++) {
				if (adc_buffer[i] >= UMBRAL_TAU) {
					indice_tau = i;
					break;
				}
			}

			// EVALUAR AUTORANGO DE CAPACIDAD
			Bool rango_valido = TRUE;

			if (indice_tau == -1) {
				rango_valido = FALSE;
				if (current_time_base == TIME_BASE_RAPIDA) current_time_base = TIME_BASE_MEDIA;
				else if (current_time_base == TIME_BASE_MEDIA) current_time_base = TIME_BASE_LENTA;
				else current_range = RANGE_330R;
			}
			else if (indice_tau < 12) {
				rango_valido = FALSE;
				if (current_time_base == TIME_BASE_LENTA) current_time_base = TIME_BASE_MEDIA;
				else if (current_time_base == TIME_BASE_MEDIA) current_time_base = TIME_BASE_RAPIDA;
				else current_range = RANGE_1M;
			}

			if (!rango_valido) {
				set_hardware_range(current_range);
				osDelay(50); // Evitamos bucle a máxima velocidad para no saturar la cola de la UI
			}
			else
			{
				MuestreoQueue_t muestreoQueueSample;
				muestreoQueueSample.raw = adc_buffer[indice_tau];
				muestreoQueueSample.processed = calcular_capacidad_final(indice_tau, current_time_base, current_range);
				muestreoQueueSample.unit = NANO_FARADIOS;

				osMessageQueuePut(muestreoQueueHandle, &muestreoQueueSample, 0, 0);

				osDelay(10);

				// ESTO ES SÓLO SI SE USA EL MODO DONDE SE IMPRIME EL BUFFER EN PANTALLA
				// TODO: este retardo es importante, así no saturo el CPU
				// con esta tarea, habría que ajustarlo con el logicAnalyzer capaz
			}

		}
	}
  /* USER CODE END 5 */
}

void oledEntry(void *argument)
{
  /* USER CODE BEGIN oledEntry */

  /* Seteo el tag para el analizador logico */
    vTaskSetApplicationTaskTag( NULL, (void*) TAG_TASK_UI);
//	ui_init(&ui1, &data_monitor);
	ui_init(&ui1);

  /* Buffer para uiQueue */
  Evento_e evt;

  /* Buffer para monitorQueue */
  MonitorData_t data_monitor_buffer;

  TickType_t last_tick_type = xTaskGetTickCount();

  MuestreoQueue_t queueBuffer = {0};

  uint8_t samples_index = 0;

  /* Infinite loop */
  for(;;)
  {

	/* Leo todas las colas */
	/*uiQueue, cola de eventos, actualiza estado del sistema*/
	while (osMessageQueueGet(uiQueueHandle, &evt, NULL, 0) == osOK){
		if (evt == EV_HEAP_ADVERTENCIA) {
			ui1.ui_estado = ESTADO_ALARMA;
		}
//		ui1.ui_estado = ESTADO_ALARMA;
		ui_FSM_switch(&ui1, &config1, evt);
	}

	/* Leo monitorQueue, actualiza datos de diagnostico*/
	osMessageQueueGet(monitorQueueHandle, &data_monitor_buffer, NULL, 0);

	/* Se adquiere la última muestra*/
	samples_index = 0;
	data_monitor_buffer.muestreo_data[0].raw = 0;
	data_monitor_buffer.muestreo_data[1].raw = 0;
	data_monitor_buffer.muestreo_data[2].raw = 0;
	data_monitor_buffer.muestreo_data[3].raw = 0;
	while (osMessageQueueGet(muestreoQueueHandle, &queueBuffer, NULL, 0) == osOK){
		ui_FSM_switch(&ui1, &config1, EV_NEW_SAMPLE);
		data_monitor_buffer.muestreo_data[samples_index++] = queueBuffer;
	}

	/* Actualizo pantalla si es necesario*/
	if (ui1.ui_update_sel || ui1.ui_update_background || ui1.ui_update_datos){
		ui_update_oled(&ui1, &config1, &data_monitor_buffer);
		ui1.ui_update_sel = 0;
		ui1.ui_update_background = 0;
		ui1.ui_update_datos = 0;
	}

	/* A mimir */
     vTaskDelayUntil(&last_tick_type, 100);

  }

  /* USER CODE END oledEntry */
}

void encoderEntry(void *argument)
{
  /* USER CODE BEGIN encoderEntry */

  /* Parametros debouncer boton */
  #define DEBOUNCER_MAX 6
  uint8_t contador_debouncer = 0;
  int16_t boton_anterior = 0;
  int16_t boton_actual = 0;

  /* Seteo el tag para el analizador logico */
  vTaskSetApplicationTaskTag( NULL, (void*) TAG_TASK_INPUTS);

  /* Inicializacion cosas del encoder */
  HAL_TIM_Encoder_Start(&htim1, TIM_CHANNEL_ALL);
  __HAL_TIM_SET_COUNTER(&htim1, 0);

  /* Buffers para el encoder */
  volatile int16_t encoder = 0;
  volatile int16_t encoder_prev = 0;

  /* Buffer para el uiQueue */
  Evento_e evt;

  TickType_t last_tick = xTaskGetTickCount();

  /* Infinite loop */
  for(;;)
  {
	// Check encoder
	encoder = __HAL_TIM_GET_COUNTER(&htim1);

	if (encoder > encoder_prev + 2) {
		encoder_prev = encoder;
		evt = EV_DOWN;
		osMessageQueuePut(uiQueueHandle, &evt, 0, 0);
	}
	else if (encoder < encoder_prev - 2) {
		encoder_prev = encoder;
		evt = EV_UP;
		osMessageQueuePut(uiQueueHandle, &evt, 0, 0);
	}

	// Check boton
	boton_actual = HAL_GPIO_ReadPin(BOTON_ENCODER_GPIO_Port, BOTON_ENCODER_Pin);

	if (boton_actual != boton_anterior) {
	    contador_debouncer++;

	    if (contador_debouncer >= DEBOUNCER_MAX) {
	        boton_anterior = boton_actual;
	        contador_debouncer = 0;

	        if (boton_actual == GPIO_PIN_RESET) {
	            evt = EV_BOTON_ENCODER;
	            osMessageQueuePut(uiQueueHandle, &evt, 0, 0);
	        }
	    }
	} else {
	    contador_debouncer = 0;
	}

	vTaskDelayUntil(&last_tick, 20);

  }
  /* USER CODE END encoderEntry */
}

void monitorEntry(void *argument)
{
  /* USER CODE BEGIN monitorEntry */
  /* Seteo el tag para el analizador logico */
  vTaskSetApplicationTaskTag( NULL, (void*) TAG_TASK_MONITOR);

  /* Cosas para advertir cuando se esta llenando mucho el heap.
   * La advertencia se pasa a uiTask mediante la cola de eventos (uiQueue)
   */
  #define LIMITE_ADVERTENCIA 30
  Evento_e evt = EV_HEAP_ADVERTENCIA;

  /* Buffers para cargar datos de monitoreo */
  MonitorData_t data_monitor_buffer;
  uint32_t heap_free = xPortGetFreeHeapSize();
  uint32_t heap_min = xPortGetMinimumEverFreeHeapSize();

  uint32_t FU_average_timer = HAL_GetTick();

//  uint8_t should_update_ui = 0;

  TickType_t last_tick = xTaskGetTickCount();

  /* Infinite loop */
  for(;;)
  {
	 /* Recopilacion y carga de datos del sistema en data_monitor */

//const osThreadAttr_t defaultTask_attributes = {
//  .name = "defaultTask",
//  .stack_size = 128 * 4,
//  .priority = (osPriority_t) osPriorityNormal,
//};

	 /* Check de si estoy pasando los limites */
	 heap_free = xPortGetFreeHeapSize();
	 if ( heap_free < LIMITE_ADVERTENCIA){
			osMessageQueuePut(uiQueueHandle, &evt, 0, 0); /* Si estamos complicados de heap, envio evento de alerta al ui*/
	 }

	 heap_min = xPortGetMinimumEverFreeHeapSize();

	 data_monitor_buffer.system_data.sys_heap_free = heap_free;
	 data_monitor_buffer.system_data.sys_heap_min = heap_min;

	 /* Recopilacion de datos de tareas*/
	 uint32_t free_stack = osThreadGetStackSpace(uiTaskHandle);
//	 if (free_stack != data_monitor_buffer.tasks_data.tasks[uiTaskID].task_stack_free) should_update_ui = 1;
	 data_monitor_buffer.tasks_data.tasks[uiTaskID].task_stack_free = free_stack;

	// Estamos usando la defaultTask como la task de idle
	 free_stack = osThreadGetStackSpace(defaultTaskHandle);
//	 if (free_stack != data_monitor_buffer.tasks_data.tasks[idleTaskID].task_stack_free) should_update_ui = 1;
	 data_monitor_buffer.tasks_data.tasks[idleTaskID].task_stack_free = free_stack;

	 free_stack = osThreadGetStackSpace(inputsTaskHandle);
//	 if (free_stack != data_monitor_buffer.tasks_data.tasks[inputsTaskID].task_stack_free) should_update_ui = 1;
	 data_monitor_buffer.tasks_data.tasks[inputsTaskID].task_stack_free = free_stack;

	 free_stack = osThreadGetStackSpace(monitorTaskHandle);
//	 if (data_monitor_buffer.tasks_data.tasks[monitorTaskID].task_stack_free) should_update_ui = 1;
	 data_monitor_buffer.tasks_data.tasks[monitorTaskID].task_stack_free = free_stack;

//	 // TODO: esto va si se quiere actualizar en tiempo real el UI, pero se ve feo
//		 if (	should_update_ui &&
//				 (ui1.ui_estado == ESTADO_DIAG ||
//				 ui1.ui_estado == ESTADO_DIAG_TAREAS_UI ||
//				 ui1.ui_estado == ESTADO_DIAG_TAREAS_MONITOR ||
//				 ui1.ui_estado == ESTADO_DIAG_TAREAS_INPUTS ||
//				 ui1.ui_estado == ESTADO_DIAG_TAREAS_IDLE) )
//			 ui1.ui_update = 1;

#define PERIODO_FU_MS (1000) // TODO: revisar
	 if (HAL_GetTick() - FU_average_timer >= PERIODO_FU_MS) {
		 FU_average_timer = HAL_GetTick();
//		 HAL_GPIO_TogglePin(DEBUG_PIN_GPIO_Port, DEBUG_PIN_Pin);

		 // se calcula el FU con un periodod de PERIODO_FU_MS en porcentaje
		 uint32_t fu = ( FU_acc * 100 ) / PERIODO_FU_MS;
		 data_monitor_buffer.system_data.fu = 100 - fu;
		 FU_acc = 0;
		 if (ui1.ui_estado == ESTADO_DIAG )
			 ui1.ui_update_datos = 1;

		 if (fu >= 99) {
			 Evento_e evt = EV_FU_ADVERTENCIA;
			 osMessageQueuePut(uiQueueHandle, &evt, 0, 0);
		 }
	 }

	 /* Envio el paquete a ui a traves de monitorQueue */
     osMessageQueuePut(monitorQueueHandle, &data_monitor_buffer, 0, 0);

     vTaskDelayUntil(&last_tick, 50);
//     osDelay(100); // a mimir
  }
  /* USER CODE END monitorEntry */
}

void HAL_TIM_PeriodElapsedCallback(TIM_HandleTypeDef *htim)
{
  if (htim->Instance == TIM4)
  {
    HAL_IncTick();
  }
}

void Error_Handler(void)
{
  __disable_irq();
  while (1)
  {
  }
}
